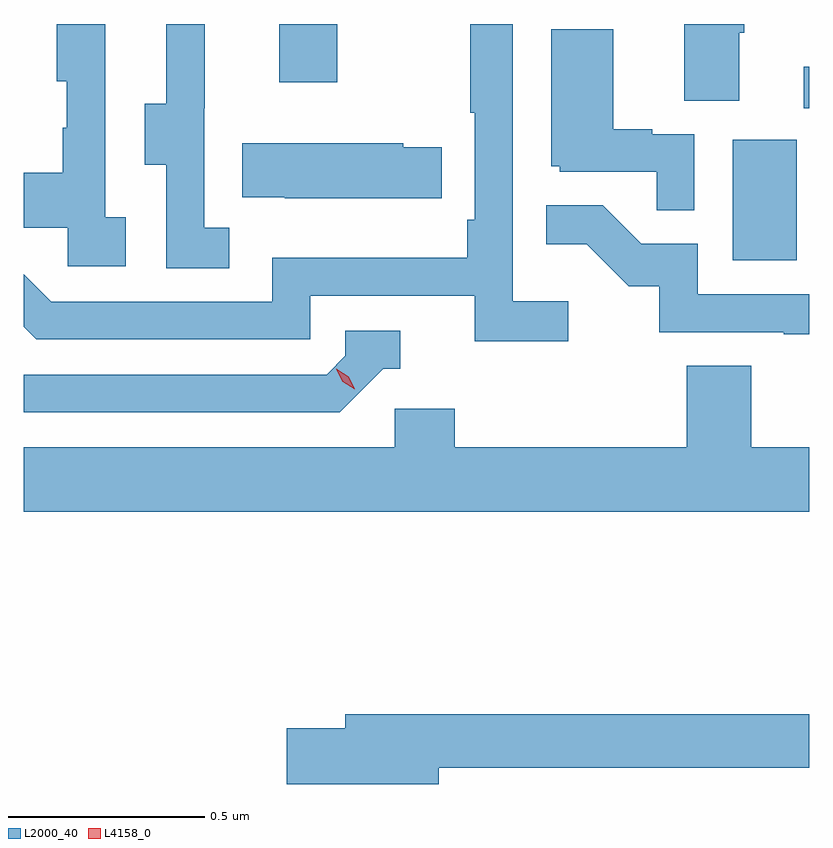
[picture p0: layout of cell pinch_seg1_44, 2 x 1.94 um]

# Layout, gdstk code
import gdstk
lib = gdstk.Library(unit=1e-6, precision=1e-09)
def R(c, l, rs):  # rectangles x0, y0, x1, y1
    for r in rs: c.add(gdstk.rectangle(r[:2], r[2:], *l))
def P(c, l, *ps):  # polygons
    for p in ps: c.add(gdstk.Polygon(p, *l))
L2000_40 = (2000, 40)
L4158_0 = (4158, 0)

pinch_seg1_44 = lib.new_cell('pinch_seg1_44')
R(pinch_seg1_44, L2000_40, [(1114.19,565.692,1114.354,565.999), (1114.371,566.079,1114.385,566.185), (1113.035,566.145,1113.183,566.294)])
P(pinch_seg1_44, L2000_40, [(1114.207,566.272),(1114.22,566.272),(1114.22,566.294),(1114.067,566.294),(1114.067,566.098),(1114.207,566.098)],
  [(1113.772,565.588),(1113.63,565.588),(1113.63,566.294),(1113.522,566.294),(1113.522,566.068),(1113.534,566.068),(1113.534,565.795),(1113.514,565.795),(1113.514,565.699),(1113.018,565.699),(1113.018,565.587),(1112.454,565.587),(1112.385,565.656),(1112.385,565.523),(1112.417,565.491),(1113.114,565.491),(1113.114,565.602),(1113.533,565.602),(1113.533,565.486),(1113.772,565.486)],
  [(1112.908,565.775),(1112.844,565.775),(1112.844,566.079),(1112.846,566.079),(1112.846,566.293),(1112.747,566.293),(1112.747,566.091),(1112.693,566.091),(1112.693,565.936),(1112.748,565.936),(1112.748,565.672),(1112.908,565.672)],
  [(1112.644,565.802),(1112.592,565.802),(1112.592,566.293),(1112.468,566.293),(1112.468,566.148),(1112.494,566.148),(1112.494,566.03),(1112.484,566.03),(1112.484,565.915),(1112.385,565.915),(1112.385,565.775),(1112.496,565.775),(1112.496,565.677),(1112.644,565.677)],
  [(1114.092,566.013),(1113.986,566.013),(1113.986,566.026),(1113.886,566.026),(1113.886,566.281),(1113.728,566.281),(1113.728,565.932),(1113.75,565.932),(1113.75,565.917),(1113.997,565.917),(1113.997,565.819),(1114.092,565.819)],
  [(1113.449,565.98),(1113.351,565.98),(1113.351,565.99),(1112.941,565.99),(1112.941,565.853),(1113.049,565.853),(1113.049,565.85),(1113.449,565.85)],
  [(1114.385,565.605),(1114.101,565.605),(1114.101,565.734),(1113.957,565.734),(1113.859,565.832),(1113.715,565.832),(1113.715,565.733),(1113.819,565.733),(1113.926,565.626),(1114.003,565.626),(1114.003,565.509),(1114.321,565.509),(1114.321,565.504),(1114.385,565.504)],
  [(1113.3,565.416),(1113.343,565.416),(1113.343,565.512),(1113.204,565.512),(1113.204,565.449),(1113.156,565.401),(1112.385,565.401),(1112.385,565.305),(1113.189,565.305)],
  [(1114.385,565.216),(1114.238,565.216),(1114.238,565.424),(1114.073,565.424),(1114.073,565.216),(1113.482,565.216),(1113.482,565.314),(1113.33,565.314),(1113.33,565.216),(1112.385,565.216),(1112.385,565.052),(1114.385,565.052)],
  [(1113.442,564.4),(1114.385,564.4),(1114.385,564.536),(1113.203,564.536),(1113.203,564.5),(1113.054,564.5),(1113.054,564.358),(1113.442,564.358)])
P(pinch_seg1_44, L4158_0, [(1113.228,565.364),(1113.197,565.383),(1113.18,565.415),(1113.18,565.416),(1113.181,565.416),(1113.212,565.396),(1113.228,565.364),(1113.228,565.364)])

lib.write_gds('pinch_seg1_44.gds')
